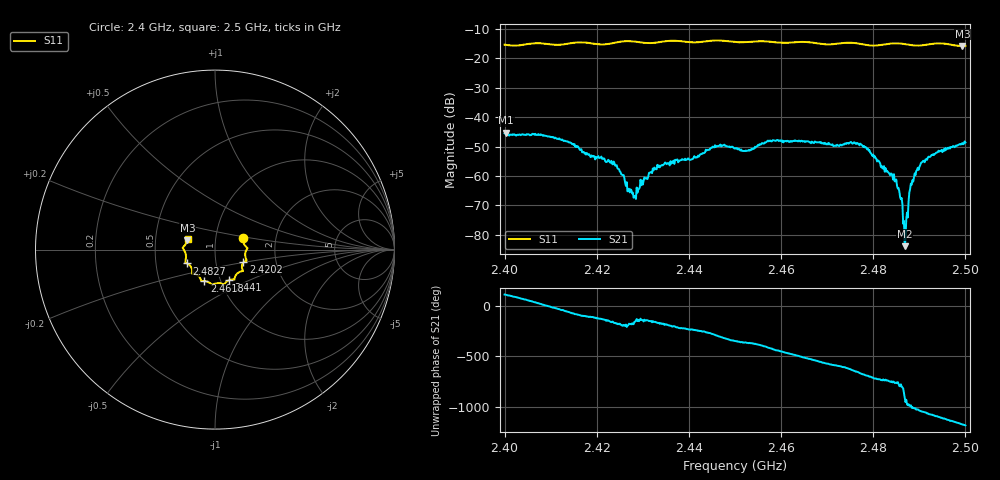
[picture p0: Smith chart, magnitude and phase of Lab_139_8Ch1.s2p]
# Hz S RI R 50
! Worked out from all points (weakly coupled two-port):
!   601 points, 2.4 GHz to 2.5 GHz, reference 50 ohm
!   highest |S21| = -45.24 dB at 2.4003 GHz (marker M1); lowest = -83.9 dB at 2.4868 GHz (marker M2)
!   lowest |S11| = -15.8 dB at 2.4993 GHz (marker M3), VSWR 1.39, Z = 36.5 + j3.82 ohm
!   |S11| at or under -10 dB: start of sweep to end of sweep
!   S12 and S22 are empty: the file has one direction only
!   S11 on the Smith chart (normalised r, x): 2.4 GHz: 1.36, +0.18; 2.4202 GHz: 1.36, -0.20; 2.441 GHz: 1.10, -0.39; 2.4618 GHz: 0.84, -0.30; 2.4827 GHz: 0.72, -0.12; 2.5 GHz: 0.73, +0.09
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2.4e9  0.1586 0.063  -0.00196 0.00495  0 0  0 0
2.400333e9  0.1582 0.0596  -0.00177 0.00518  0 0  0 0
2.410167e9  0.172 -0.00787  0.00451 -0.00102  0 0  0 0
2.416667e9  0.177 -0.0608  -0.000397 -0.00283  0 0  0 0
2.420167e9  0.1586 -0.0712  -0.00115 -0.00175  0 0  0 0
2.424167e9  0.1518 -0.1079  -0.00149 -0.000128  0 0  0 0
2.428e9  0.1523 -0.12  -0.000427 1.03e-05  0 0  0 0
2.433333e9  0.1113 -0.1508  -0.00139 -0.000242  0 0  0 0
2.441e9  0.0788 -0.1697  -0.0011 0.00171  0 0  0 0
2.45e9  0.0284 -0.1874  0.00288 0.000539  0 0  0 0
2.461833e9  -0.0589 -0.1754  -0.00158 -0.00355  0 0  0 0
2.466667e9  -0.0788 -0.1684  -0.00382 -0.000461  0 0  0 0
2.477e9  -0.127 -0.124  0.00194 0.00271  0 0  0 0
2.482667e9  -0.1558 -0.0772  0.00133 -0.000276  0 0  0 0
2.483333e9  -0.1602 -0.0753  0.00102 -0.000484  0 0  0 0
2.485e9  -0.1655 -0.0714  0.000664 -0.000562  0 0  0 0
2.486833e9  -0.1638 -0.0612  -6.32e-05 1.05e-05  0 0  0 0
2.487167e9  -0.1631 -0.0584  -0.000156 9.3e-05  0 0  0 0
2.4885e9  -0.1613 -0.0434  0.000214 0.00082  0 0  0 0
2.4905e9  -0.1653 -0.0172  0.00143 0.000931  0 0  0 0
2.499333e9  -0.1542 0.0509  -0.000461 -0.0036  0 0  0 0
2.5e9  -0.1524 0.0608  -0.00102 -0.00356  0 0  0 0
